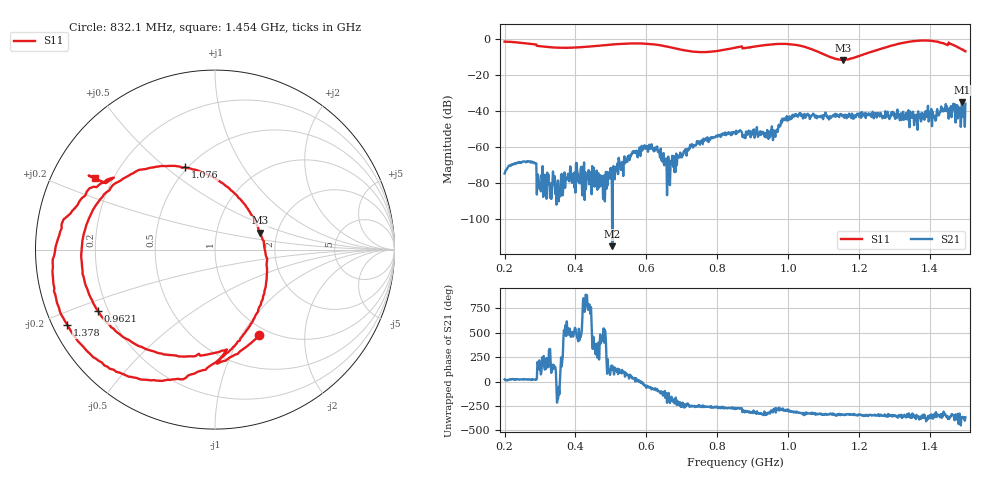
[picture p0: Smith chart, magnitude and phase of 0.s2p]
! NanoVNA-App
! Date: 2024-06-25 16:48:06
! Start: 200MHz Stop: 1.5GHz Points: 801
! S-Parameter data: F S11 S21 S12 S22
# Hz S RI R 50
!  Frequency  S11_Real  S11_Imag  S21_Real  S21_Imag  S12_Real  S12_Imag  S22_Real  S22_Imag
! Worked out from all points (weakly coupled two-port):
!   801 points, 200 MHz to 1.5 GHz, reference 50 ohm
!   highest |S21| = -34.91 dB at 1.49 GHz (marker M1); lowest = -115.3 dB at 503.9 MHz (marker M2)
!   lowest |S11| = -11.5 dB at 1.154 GHz (marker M3), VSWR 1.73, Z = 81.3 + j16.5 ohm
!   |S11| at or under -10 dB: 1.12 GHz to 1.189 GHz (69.23 MHz wide, 5.99 % of centre)
!   S12 and S22 are empty: the file has one direction only
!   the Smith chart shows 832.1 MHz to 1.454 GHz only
!   S11 on the Smith chart (normalised r, x): 832.1 MHz: 0.90, -1.20; 962.1 MHz: 0.16, -0.24; 1.076 GHz: 0.48, +0.58; 1.378 GHz: 0.04, -0.24; 1.454 GHz: 0.14, +0.27
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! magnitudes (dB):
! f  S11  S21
! 200 MHz  -1.3  -74.7
! 268.2 MHz  -2.4  -68.0
! 282.9 MHz  -2.8  -69.0
! 297.5 MHz  -3.8  -83.1
! 417.8 MHz  -4.3  -80.5
! 503.9 MHz  -2.9  -115.3
! 567.2 MHz  -2.3  -62.5
! 633.9 MHz  -3.1  -62.7
! 664.8 MHz  -4.3  -67.6
! 729.8 MHz  -6.8  -58.5
! 832.1 MHz  -5.4  -51.8
! 850 MHz  -4.7  -52.0
! 962.1 MHz  -2.7  -52.3
! 989.8 MHz  -2.5  -44.1
! 1.068 GHz  -5.6  -42.3
! 1.076 GHz  -6.2  -43.5
! 1.154 GHz  -11.5  -42.2
! 1.284 GHz  -4.0  -42.4
! 1.378 GHz  -0.7  -44.1
! 1.454 GHz  -2.2  -40.8
! 1.49 GHz  -5.7  -34.9
! 1.5 GHz  -6.7  -35.9
